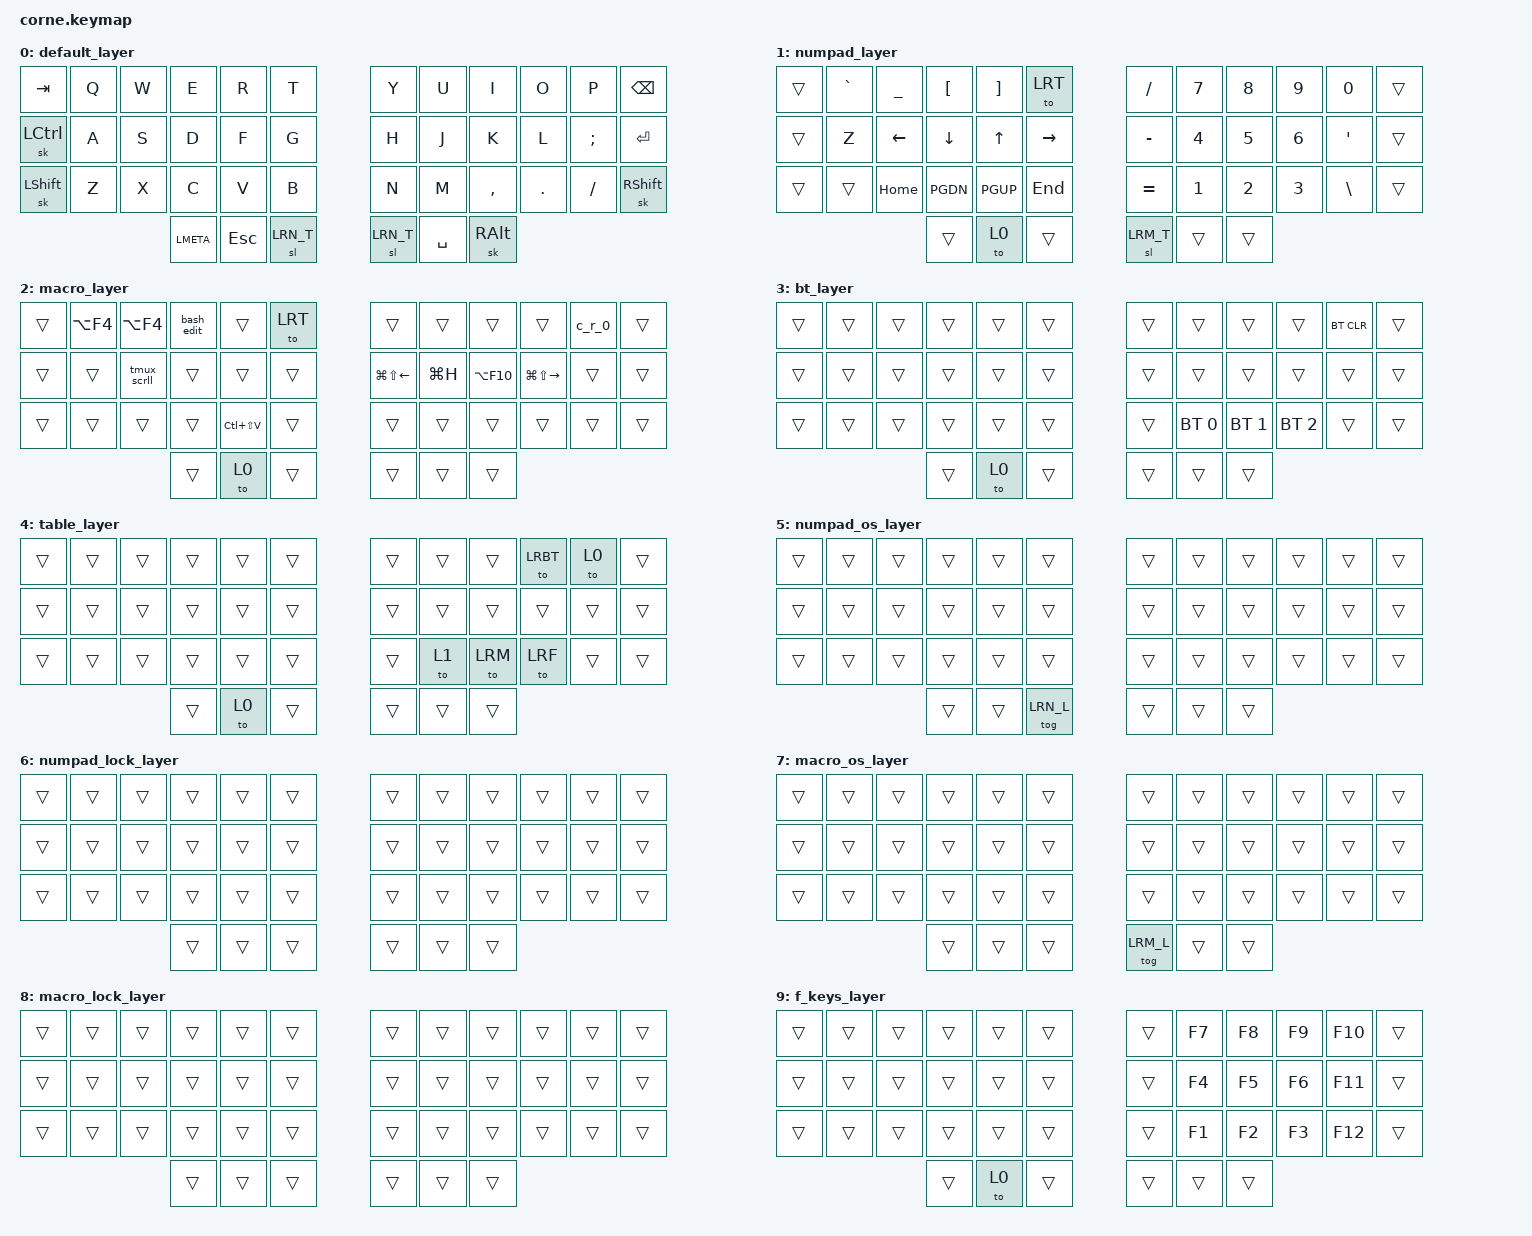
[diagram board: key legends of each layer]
/*
 * Copyright (c) 2020 The ZMK Contributors
 *
 * SPDX-License-Identifier: MIT
 */

#include <behaviors.dtsi>
#include <dt-bindings/zmk/keys.h>
#include <dt-bindings/zmk/bt.h>

#define LRN   1
#define LRM   2
#define LRBT  3
#define LRT   4
#define LRN_T 5
#define LRN_L 6
#define LRM_T 7
#define LRM_L 8
#define LRF   9

&sk {
    release-after-ms = <3000>;
};

/ {
        conditional_layers {
                compatible = "zmk,conditional-layers";
                numpad_temp {
                        if-layers = <LRN_T>;
                        then-layer = <LRN>;
                };
                numpad_lock {
                        if-layers = <LRN_L>;
                        then-layer = <LRN>;
                };
                macro_temp {
                        if-layers = <LRM_T>;
                        then-layer = <LRM>;
                };
                macro_lock {
                        if-layers = <LRM_L>;
                        then-layer = <LRM>;
                };
        };
        macros {
            c_r_0: c_r_0 {
                compatible = "zmk,behavior-macro";
                #binding-cells = <0>;
                bindings
                    = <&macro_press &kp LCTRL>
                    , <&macro_tap &kp R>
                    , <&macro_release &kp LCTRL>
                    , <&macro_tap &kp N0>
                    ;
            };
            bash_edit: bash_edit {
                compatible = "zmk,behavior-macro";
                #binding-cells = <0>;
                bindings
                    = <&macro_press &kp LC(X)>
                    , <&macro_tap &kp LC(E)>
                    ;
            };
            tmux_scrll: tmux_scrll {
                compatible = "zmk,behavior-macro";
                #binding-cells = <0>;
                bindings
                    = <&macro_press &kp LCTRL>
                    , <&macro_tap &kp U>
                    , <&macro_release &kp LCTRL>
                    , <&macro_tap &kp LBKT>
                    , <&macro_tap &kp N0>
                    ;
            };
        };
        keymap {
                compatible = "zmk,keymap";

                default_layer {
// -----------------------------------------------------------------------------------------
// |  TAB |  Q  |  W  |  E  |  R  |  T  |   |  Y  |  U   |  I  |  O  |  P  | BSPC |
// | CTRL |  A  |  S  |  D  |  F  |  G  |   |  H  |  J   |  K  |  L  |  ;  | ENT  |
// | SHFT |  Z  |  X  |  C  |  V  |  B  |   |  N  |  M   |  ,  |  .  |  /  | SHFT |
//                    |  [  | ESC | LR1 |   | LR1 | SPC  |  ]  |
                        bindings = <
   &kp TAB   &kp Q &kp W &kp E &kp R &kp T   &kp Y &kp U  &kp I     &kp O   &kp P    &kp BSPC
   &sk LCTRL &kp A &kp S &kp D &kp F &kp G   &kp H &kp J  &kp K     &kp L   &kp SEMI &kp RET
   &sk LSHFT &kp Z &kp X &kp C &kp V &kp B   &kp N &kp M  &kp COMMA &kp DOT &kp FSLH &sk RSHFT
               &kp LMETA &kp ESC &sl LRN_T   &sl LRN_T &kp SPACE &sk RALT
                        >;
                };
                numpad_layer {
// -----------------------------------------------------------------------------------------
// |      |  `  |  _   |  [   |  ]   | LRT |   |  /  |  7  |  8  |  9  |  0  |      |
// |      |  Z  | LFT  | DWN  | UP   | RGT |   |  -  |  4  |  5  |  6  |  '  |      |
// |      |     | HOME | PGDN | PGUP | END |   |  =  |  1  |  2  |  3  |  \  |      |
//                     |      | LR0  |     |   | LRM |     |     |
                        bindings = <
   &trans &kp GRAVE &kp UNDER &kp LBKT &kp RBKT &to LRT     &kp FSLH  &kp N7 &kp N8 &kp N9 &kp N0   &trans
   &trans &kp Z     &kp LEFT  &kp DOWN &kp UP   &kp RIGHT   &kp MINUS &kp N4 &kp N5 &kp N6 &kp SQT  &trans
   &trans &trans    &kp HOME  &kp PGDN &kp PGUP &kp END     &kp EQUAL &kp N1 &kp N2 &kp N3 &kp BSLH &trans
                                      &trans &to 0 &trans   &sl LRM_T &trans &trans
                        >;
                };
                macro_layer {
// -----------------------------------------------------------------------------------------
// |      | Alt+F4 |            | bash edit |       | LRT |   |          |     |         |           | C-R-0 |      |
// |      |        | tmux scrll |           |       |     |   |          |     |         |           |       |      |
// |      |        |            |           | C-S-V |     |   | M-S-Left | M-H | Alt+F10 | M-S-Right |       |      |
//                              |           | LR0   |     |   |          |     |         |
                        bindings = <
   &trans &kp LA(F4) &kp LA(F4)  &bash_edit &trans        &to LRT   &trans           &trans    &trans      &trans            &c_r_0 &trans
   &trans &trans     &tmux_scrll &trans     &trans        &trans    &kp LG(LS(LEFT)) &kp LG(H) &kp LA(F10) &kp LG(LS(RIGHT)) &trans &trans
   &trans &trans     &trans      &trans     &kp LC(LS(V)) &trans    &trans           &trans    &trans      &trans            &trans &trans
                                          &trans &to 0 &trans   &trans &trans &trans
                        >;
                };
                bt_layer {
// -----------------------------------------------------------------------------------------
// |      |     |     |     |     |     |   |     |     |     |     | BTCLR |      |
// |      |     |     |     |     |     |   |     |     |     |     |       |      |
// |      |     |     |     |     |     |   |     | BT1 | BT2 | BT3 |       |      |
//                    |     | LR0 |     |   |     |     |     |
                        bindings = <
   &trans &trans &trans &trans &trans &trans   &trans &trans       &trans       &trans       &bt BT_CLR &trans
   &trans &trans &trans &trans &trans &trans   &trans &trans       &trans       &trans       &trans     &trans
   &trans &trans &trans &trans &trans &trans   &trans &bt BT_SEL 0 &bt BT_SEL 1 &bt BT_SEL 2 &trans     &trans
                         &trans &to 0 &trans   &trans &trans &trans
                        >;
                };
                table_layer {
// -----------------------------------------------------------------------------------------
// |      |     |     |     |     |     |   |     |     |     | LRBT | LR0 |      |
// |      |     |     |     |     |     |   |     |     |     |      |     |      |
// |      |     |     |     |     |     |   |     | LR1 | LRM | LRF  |     |      |
//                    |     | LR0 |     |   |     |     |     |
                        bindings = <
   &trans &trans &trans &trans &trans &trans   &trans &trans &trans  &to LRBT  &to 0  &trans
   &trans &trans &trans &trans &trans &trans   &trans &trans &trans  &trans    &trans &trans
   &trans &trans &trans &trans &trans &trans   &trans &to 1  &to LRM &to LRF   &trans &trans
                         &trans &to 0 &trans   &trans &trans &trans
                        >;
                };
                numpad_os_layer {
// -----------------------------------------------------------------------------------------
// |      |     |     |     |     |      |   |     |     |     |     |     |      |
// |      |     |     |     |     |      |   |     |     |     |     |     |      |
// |      |     |     |     |     |      |   |     |     |     |     |     |      |
//                    |     |     | LOCK |   |     |     |     |
                        bindings = <
   &trans &trans &trans &trans &trans &trans   &trans &trans &trans &trans &trans &trans
   &trans &trans &trans &trans &trans &trans   &trans &trans &trans &trans &trans &trans
   &trans &trans &trans &trans &trans &trans   &trans &trans &trans &trans &trans &trans
                    &trans &trans &tog LRN_L   &trans &trans &trans
                        >;
                };
                numpad_lock_layer {
// Empty layer
                        bindings = <
   &trans &trans &trans &trans &trans &trans   &trans &trans &trans &trans &trans &trans
   &trans &trans &trans &trans &trans &trans   &trans &trans &trans &trans &trans &trans
   &trans &trans &trans &trans &trans &trans   &trans &trans &trans &trans &trans &trans
                        &trans &trans &trans   &trans &trans &trans
                        >;
                };
                macro_os_layer {
// -----------------------------------------------------------------------------------------
// |      |     |     |     |     |     |   |      |     |     |     |     |      |
// |      |     |     |     |     |     |   |      |     |     |     |     |      |
// |      |     |     |     |     |     |   |      |     |     |     |     |      |
//                    |     |     |     |   | LOCK |     |     |
                        bindings = <
   &trans &trans &trans &trans &trans &trans   &trans &trans &trans &trans &trans &trans
   &trans &trans &trans &trans &trans &trans   &trans &trans &trans &trans &trans &trans
   &trans &trans &trans &trans &trans &trans   &trans &trans &trans &trans &trans &trans
                        &trans &trans &trans   &tog LRM_L &trans &trans
                        >;
                };
                macro_lock_layer {
// Empty layer
                        bindings = <
   &trans &trans &trans &trans &trans &trans   &trans &trans &trans &trans &trans &trans
   &trans &trans &trans &trans &trans &trans   &trans &trans &trans &trans &trans &trans
   &trans &trans &trans &trans &trans &trans   &trans &trans &trans &trans &trans &trans
                        &trans &trans &trans   &trans &trans &trans
                        >;
                };
                f_keys_layer {
// -----------------------------------------------------------------------------------------
// |      |     |     |     |     |     |   |      | F7  | F8  | F9  | F10 |      |
// |      |     |     |     |     |     |   |      | F4  | F5  | F6  | F11 |      |
// |      |     |     |     |     |     |   |      | F1  | F2  | F3  | F12 |      |
//                    |     | LR0 |     |   |      |     |     |
// Empty layer
                        bindings = <
   &trans &trans &trans &trans &trans &trans   &trans &kp F7 &kp F8 &kp F9 &kp F10 &trans
   &trans &trans &trans &trans &trans &trans   &trans &kp F4 &kp F5 &kp F6 &kp F11 &trans
   &trans &trans &trans &trans &trans &trans   &trans &kp F1 &kp F2 &kp F3 &kp F12 &trans
                        &trans &to 0  &trans   &trans &trans &trans
                        >;
                };
        };
};
